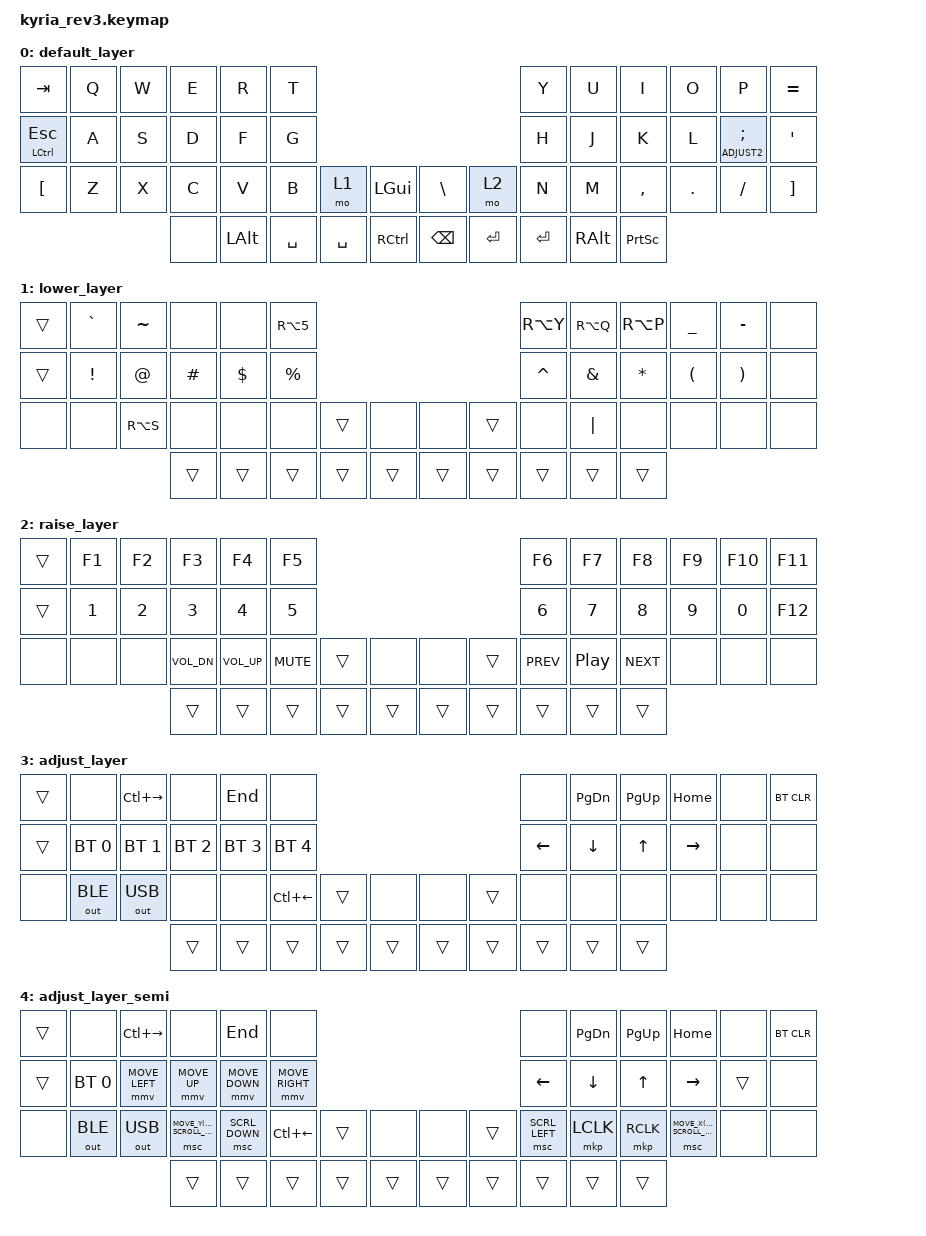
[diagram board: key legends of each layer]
/*
 * Copyright (c) 2023 The ZMK Contributors
 *
 * SPDX-License-Identifier: MIT
 */

#include <behaviors.dtsi>
#include <dt-bindings/zmk/bt.h>
#include <dt-bindings/zmk/keys.h>
#include <dt-bindings/zmk/mouse.h>
#include <dt-bindings/zmk/outputs.h>

// Transparent/None

#define _____ &trans
#define xxxxx &none

// Layers

#define BASE 0
#define LOWER 1
#define RAISE 2
#define ADJUST 3
#define ADJUST2 4

#define U_MOUSE_SCROLL_MAX 100                    /* <--- New max speed setting (default: 10) */
#undef SCROLL_UP
#undef SCROLL_DOWN
#undef SCROLL_LEFT
#undef SCROLL_RIGHT
#define SCRL_UP MOVE_Y(U_MOUSE_SCROLL_MAX)
#define SCRL_DOWN MOVE_Y(-U_MOUSE_SCROLL_MAX)
#define SCRL_LEFT MOVE_X(-U_MOUSE_SCROLL_MAX)
#define SCRL_RIGHT MOVE_X(U_MOUSE_SCROLL_MAX)

&mt {
    tapping-term-ms = <200>;
};

/ {
    // Activate ADJUST layer by pressing raise and lower

    conditional_layers {
        compatible = "zmk,conditional-layers";

        adjust_layer {
            if-layers = <LOWER RAISE>;
            then-layer = <ADJUST>;
        };
    };

    combos {
        compatible = "zmk,combos";

        combo_space {
            bindings = <&kp SPACE>;
            key-positions = <7 8>;
            layers = <0>;
        };

        shift_right {
            bindings = <&kp RSHIFT>;
            key-positions = <19 20>;
        };

        shift_left {
            bindings = <&kp LSHIFT>;
            key-positions = <16 15>;
        };
    };

    keymap {
        compatible = "zmk,keymap";

        default_layer {
            // ---------------------------------------------------------------------------------------------------------------------------------
            // |  TAB    |  Q  |  W  |  E  |  R   |   T   |                                |  Y  |  U   |   I   |  O  |   P   |  =  |
            // |CTRL(ESC)|  A  |  S  |  D  |  F   |   G   |                                |  H  |  J   |   K   |  L  | L3(;) |  '  |
            // |   [     |  Z  |  X  |  C  |  V   |   B   | LOWER | GUI  |  |  \   | RAISE |  N  |  M   |   ,   |  .  |   /   |  ]  |
            //                       |_____| LALT | SPACE | SPACE | CTRL |  | BSPC |  RET  | RET | RALT | PSCRN |

            bindings = <
&kp TAB        &kp Q  &kp W  &kp E  &kp R     &kp T                                                      &kp Y      &kp U     &kp I            &kp O    &kp P             &kp EQUAL
&mt LCTRL ESC  &kp A  &kp S  &kp D  &kp F     &kp G                                                      &kp H      &kp J     &kp K            &kp L    &lt ADJUST2 SEMI  &kp SQT
&kp LBKT       &kp Z  &kp X  &kp C  &kp V     &kp B      &mo 1      &kp LGUI   &kp BSLH       &mo 2      &kp N      &kp M     &kp COMMA        &kp DOT  &kp FSLH          &kp RBKT
                             &none  &kp LALT  &kp SPACE  &kp SPACE  &kp RCTRL  &kp BACKSPACE  &kp ENTER  &kp ENTER  &kp RALT  &kp PRINTSCREEN
            >;
        };

        lower_layer {
            bindings = <
&trans  &kp GRAVE  &kp TILDE  &none     &none     &kp RA(NUMBER_5)                                  &kp RA(Y)  &kp RA(Q)  &kp RA(P)  &kp UNDER  &kp MINUS  &none
&trans  &kp EXCL   &kp AT     &kp HASH  &kp DLLR  &kp PRCNT                                         &kp CARET  &kp AMPS   &kp STAR   &kp LPAR   &kp RPAR   &none
&none   &none      &kp RA(S)  &none     &none     &none             &trans  &none   &none   &trans  &none      &kp PIPE   &none      &none      &none      &none
                              &trans    &trans    &trans            &trans  &trans  &trans  &trans  &trans     &trans     &trans
            >;
        };

        raise_layer {
            bindings = <
&trans  &kp F1  &kp F2  &kp F3        &kp F4        &kp F5                                      &kp F6      &kp F7            &kp F8      &kp F9  &kp F10  &kp F11
&trans  &kp N1  &kp N2  &kp N3        &kp N4        &kp N5                                      &kp N6      &kp N7            &kp N8      &kp N9  &kp N0   &kp F12
&none   &none   &none   &kp C_VOL_DN  &kp C_VOL_UP  &kp K_MUTE  &trans  &none   &none   &trans  &kp C_PREV  &kp C_PLAY_PAUSE  &kp C_NEXT  &none   &none    &none
                        &trans        &trans        &trans      &trans  &trans  &trans  &trans  &trans      &trans            &trans
            >;
        };

        adjust_layer {
            bindings = <
&trans  &none         &kp LC(RIGHT)  &none         &kp END       &none                                         &none     &kp PG_DN  &kp PG_UP  &kp HOME   &none  &bt BT_CLR
&trans  &bt BT_SEL 0  &bt BT_SEL 1   &bt BT_SEL 2  &bt BT_SEL 3  &bt BT_SEL 4                                  &kp LEFT  &kp DOWN   &kp UP     &kp RIGHT  &none  &none
&none   &out OUT_BLE  &out OUT_USB   &none         &none         &kp LC(LEFT)  &trans  &none   &none   &trans  &none     &none      &none      &none      &none  &none
                                     &trans        &trans        &trans        &trans  &trans  &trans  &trans  &trans    &trans     &trans
            >;
        };

        adjust_layer_semi {
            bindings = <
&trans  &none         &kp LC(RIGHT)  &none        &kp END        &none                                         &none          &kp PG_DN  &kp PG_UP  &kp HOME        &none   &bt BT_CLR
&trans  &bt BT_SEL 0  &mmv MOVE_LEFT &mmv MOVE_UP &mmv MOVE_DOWN &mmv MOVE_RIGHT                               &kp LEFT       &kp DOWN   &kp UP     &kp RIGHT       &trans  &none
&none   &out OUT_BLE  &out OUT_USB   &msc SCRL_UP &msc SCRL_DOWN &kp LC(LEFT)  &trans  &none   &none   &trans  &msc SCRL_LEFT &mkp LCLK  &mkp RCLK  &msc SCRL_RIGHT &none   &none
                                     &trans       &trans         &trans        &trans  &trans  &trans  &trans  &trans         &trans     &trans
            >;
        };
    };
};
